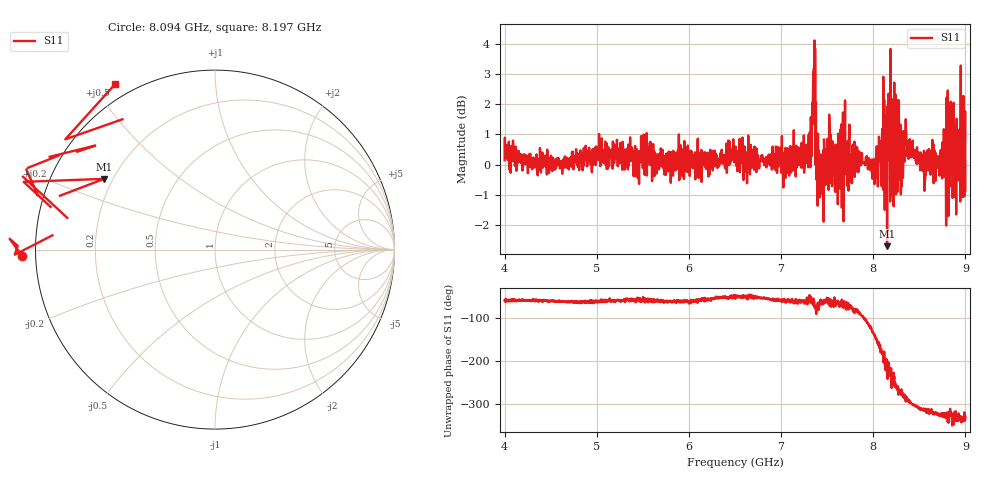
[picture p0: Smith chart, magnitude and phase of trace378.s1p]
! Created with skrf 1.8.0 (http://scikit-rf.org).
# Hz S RI R 50.0
!freq ReS11 ImS11
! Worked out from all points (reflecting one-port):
!   1601 points, 4 GHz to 9 GHz, reference 50 ohm
!   lowest |S11| = -2.7 dB at 8.15 GHz (marker M1), VSWR 6.49, Z = 8.34 + j14.2 ohm
!   phase of S11 starts at -57 deg and turns -272 deg over the sweep
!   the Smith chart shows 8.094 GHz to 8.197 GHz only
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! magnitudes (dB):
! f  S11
! 4 GHz  0.1
! 4.625 GHz  -0.3
! 5.25 GHz  0.0
! 5.875 GHz  0.2
! 6.5 GHz  0.3
! 7.125 GHz  0.3
! 7.294 GHz  -0.1
! 7.319 GHz  -0.1
! 7.347 GHz  2.5
! 7.369 GHz  3.8
! 7.4 GHz  1.0
! 7.438 GHz  -1.0
! 7.512 GHz  0.7
! 7.609 GHz  0.2
! 7.669 GHz  1.2
! 7.75 GHz  -0.1
! 8 GHz  0.0
! 8.097 GHz  1.2
! 8.15 GHz  -2.7
! 8.181 GHz  2.2
! 8.209 GHz  0.0
! 8.312 GHz  1.0
! 8.375 GHz  0.6
! 8.547 GHz  0.0
! 8.788 GHz  -0.5
! 8.841 GHz  2.1
! 8.972 GHz  0.1
! 9 GHz  -0.9
